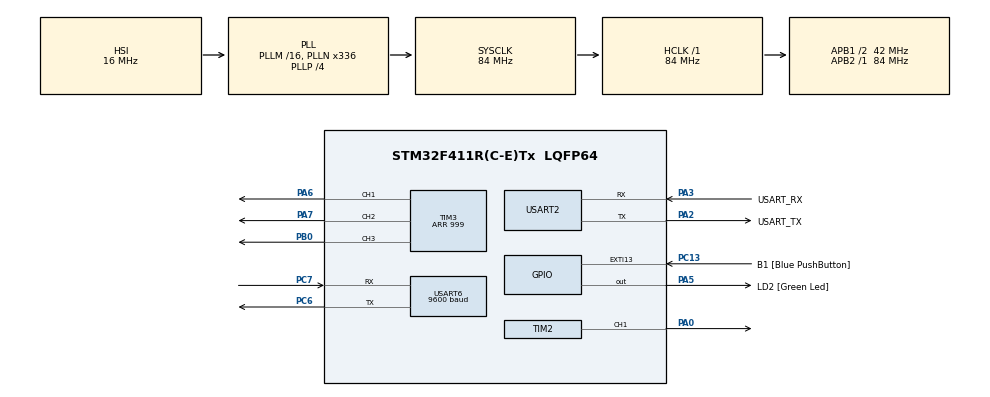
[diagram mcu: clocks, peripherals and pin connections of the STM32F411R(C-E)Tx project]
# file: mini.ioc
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Mcu.Family=STM32F4
Mcu.Name=STM32F411R(C-E)Tx
Mcu.Package=LQFP64
NVIC.PriorityGroup=NVIC_PRIORITYGROUP_0
NVIC.USART2_IRQn=true\:0\:0\:false\:false\:true\:true\:true\:true
NVIC.USART6_IRQn=true\:0\:0\:false\:false\:true\:true\:true\:true
PA0-WKUP.Signal=S_TIM2_CH1_ETR
PA13.GPIO_Label=TMS
PA13.Mode=Serial_Wire
PA13.Signal=SYS_JTMS-SWDIO
PA14.GPIO_Label=TCK
PA14.Mode=Serial_Wire
PA14.Signal=SYS_JTCK-SWCLK
PA2.GPIO_Label=USART_TX
PA2.Mode=Asynchronous
PA2.Signal=USART2_TX
PA3.GPIO_Label=USART_RX
PA3.Mode=Asynchronous
PA3.Signal=USART2_RX
PA5.GPIO_Label=LD2 [Green Led]
PA5.Signal=GPIO_Output
PA6.Signal=S_TIM3_CH1
PA7.Signal=S_TIM3_CH2
PB0.Signal=S_TIM3_CH3
PC13-ANTI_TAMP.GPIO_Label=B1 [Blue PushButton]
PC13-ANTI_TAMP.GPIO_ModeDefaultEXTI=GPIO_MODE_IT_FALLING
PC13-ANTI_TAMP.Signal=GPXTI13
PC14-OSC32_IN.Mode=LSE-External-Oscillator
PC14-OSC32_IN.Signal=RCC_OSC32_IN
PC15-OSC32_OUT.Mode=LSE-External-Oscillator
PC15-OSC32_OUT.Signal=RCC_OSC32_OUT
PC6.Mode=Asynchronous
PC6.Signal=USART6_TX
PC7.Mode=Asynchronous
PC7.Signal=USART6_RX
PH0\ -\ OSC_IN.Mode=HSE-External-Clock-Source
PH0\ -\ OSC_IN.Signal=RCC_OSC_IN
PH1\ -\ OSC_OUT.Mode=HSE-External-Clock-Source
PH1\ -\ OSC_OUT.Signal=RCC_OSC_OUT
ProjectManager.HeapSize=0x200
ProjectManager.StackSize=0x400
ProjectManager.TargetToolchain=STM32CubeIDE
RCC.48MHZClocksFreq_Value=84000000
RCC.AHBFreq_Value=84000000
RCC.APB1CLKDivider=RCC_HCLK_DIV2
RCC.APB1Freq_Value=42000000
RCC.APB1TimFreq_Value=84000000
RCC.APB2Freq_Value=84000000
RCC.APB2TimFreq_Value=84000000
RCC.CortexFreq_Value=84000000
RCC.FLatency-AdvancedSettings=FLASH_LATENCY_2
RCC.HCLKFreq_Value=84000000
RCC.HSE_VALUE=8000000
RCC.HSI_VALUE=16000000
RCC.PLLN=336
RCC.PLLP=RCC_PLLP_DIV4
RCC.SYSCLKFreq_VALUE=84000000
RCC.SYSCLKSource=RCC_SYSCLKSOURCE_PLLCLK
RCC.VCOOutputFreq_Value=336000000
SH.S_TIM2_CH1_ETR.0=TIM2_CH1,PWM Generation1 CH1
SH.S_TIM3_CH1.0=TIM3_CH1,PWM Generation1 CH1
SH.S_TIM3_CH2.0=TIM3_CH2,PWM Generation2 CH2
SH.S_TIM3_CH3.0=TIM3_CH3,PWM Generation3 CH3
TIM2.Channel-PWM\ Generation1\ CH1=TIM_CHANNEL_1
TIM2.Period=999
TIM2.Pulse-PWM\ Generation1\ CH1=499
TIM3.Channel-PWM\ Generation1\ CH1=TIM_CHANNEL_1
TIM3.Channel-PWM\ Generation2\ CH2=TIM_CHANNEL_2
TIM3.Channel-PWM\ Generation3\ CH3=TIM_CHANNEL_3
TIM3.Period=999
TIM3.Pulse-PWM\ Generation1\ CH1=499
TIM3.Pulse-PWM\ Generation2\ CH2=499
TIM3.Pulse-PWM\ Generation3\ CH3=499
USART2.VirtualMode=VM_ASYNC
USART6.BaudRate=9600
USART6.VirtualMode=VM_ASYNC
VP_TIM2_VS_ClockSourceINT.Mode=Internal
VP_TIM3_VS_ClockSourceINT.Mode=Internal
board=NUCLEO-F411RE

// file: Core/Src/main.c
/* USER CODE BEGIN Header */
/**
  ******************************************************************************
  * @file           : main.c
  * @brief          : Main program body
  ******************************************************************************
  * @attention
  *
  * Copyright (c) 2024 STMicroelectronics.
  * All rights reserved.
  *
  * This software is licensed under terms that can be found in the LICENSE file
  * in the root directory of this software component.
  * If no LICENSE file comes with this software, it is provided AS-IS.
  *
  ******************************************************************************
  */
/* USER CODE END Header */
#include "main.h"

/* USER CODE BEGIN Includes */
#include <stdio.h>
#include <string.h>
#define MOTOR_ON()  HAL_TIM_PWM_Start(&htim2, TIM_CHANNEL_1)
#define MOTOR_OFF() HAL_TIM_PWM_Stop(&htim2, TIM_CHANNEL_1)
/* USER CODE END Includes */

/* USER CODE BEGIN PD */
#ifdef __GNUC__
/* With GCC, small printf (option LD Linker->Libraries->Small printf
   set to 'Yes') calls __io_putchar() */
#define PUTCHAR_PROTOTYPE int __io_putchar(int ch)
#else
#define PUTCHAR_PROTOTYPE int fputc(int ch, FILE *f)
#endif /* __GNUC__ */
#define ARR_CNT 5
#define CMD_SIZE 50
/* USER CODE END PD */

/* USER CODE BEGIN PM */
int dust = 0;
int temp = 0;
int humi =0 ;
/* USER CODE END PM */

TIM_HandleTypeDef htim2;
TIM_HandleTypeDef htim3;

UART_HandleTypeDef huart2;
UART_HandleTypeDef huart6;

/* USER CODE BEGIN PV */
uint8_t rx2char;
volatile unsigned char rx2Flag = 0;
volatile char rx2Data[50];
volatile unsigned char btFlag = 0;
uint8_t btchar;
char btData[50];
/* USER CODE END PV */

void SystemClock_Config(void);
static void MX_GPIO_Init(void);
static void MX_USART2_UART_Init(void);
static void MX_USART6_UART_Init(void);
static void MX_TIM3_Init(void);
static void MX_TIM2_Init(void);
/* USER CODE BEGIN PFP */
void bluetooth_Event();

void SetRGBColor(uint8_t red, uint8_t green, uint8_t blue)
{
    __HAL_TIM_SET_COMPARE(&htim3, TIM_CHANNEL_1, red);
    __HAL_TIM_SET_COMPARE(&htim3, TIM_CHANNEL_2, green);
    __HAL_TIM_SET_COMPARE(&htim3, TIM_CHANNEL_3, blue);
}
/* USER CODE END PFP */

int main(void)
{

  /* MCU Configuration--------------------------------------------------------*/

  /* Reset of all peripherals, Initializes the Flash interface and the Systick. */
  HAL_Init();

  /* Configure the system clock */
  SystemClock_Config();

  /* Initialize all configured peripherals */
  MX_GPIO_Init();
  MX_USART2_UART_Init();
  MX_USART6_UART_Init();
  MX_TIM3_Init();
  MX_TIM2_Init();
  /* USER CODE BEGIN 2 */
  HAL_UART_Receive_IT(&huart2, &rx2char,1);
  HAL_UART_Receive_IT(&huart6, &btchar,1);
  printf("start main2()\r\n");
//  char buf[10] = "Hello\r";
  /* USER CODE END 2 */

  /* Infinite loop */
  /* USER CODE BEGIN WHILE */
  while (1)
  {
	  if(rx2Flag)
	  {
			printf("recv2 : %s\r\n",rx2Data);
			rx2Flag =0;
	//	    HAL_UART_Transmit(&huart6, (uint8_t *)buf, strlen(buf), 0xFFFF);
	  }
	  if(btFlag)
	  {
//		printf("bt : %s\r\n",btData);
			btFlag =0;
			bluetooth_Event();
	  }
//	  HAL_GPIO_TogglePin(GPIOC, GPIO_PIN_13);
//	  HAL_Delay(500);

    /* USER CODE END WHILE */

  }
}

void SystemClock_Config(void)
{
  RCC_OscInitTypeDef RCC_OscInitStruct = {0};
  RCC_ClkInitTypeDef RCC_ClkInitStruct = {0};

  /** Configure the main internal regulator output voltage
  */
  __HAL_RCC_PWR_CLK_ENABLE();
  __HAL_PWR_VOLTAGESCALING_CONFIG(PWR_REGULATOR_VOLTAGE_SCALE1);

  /** Initializes the RCC Oscillators according to the specified parameters
  * in the RCC_OscInitTypeDef structure.
  */
  RCC_OscInitStruct.OscillatorType = RCC_OSCILLATORTYPE_HSI;
  RCC_OscInitStruct.HSIState = RCC_HSI_ON;
  RCC_OscInitStruct.HSICalibrationValue = RCC_HSICALIBRATION_DEFAULT;
  RCC_OscInitStruct.PLL.PLLState = RCC_PLL_ON;
  RCC_OscInitStruct.PLL.PLLSource = RCC_PLLSOURCE_HSI;
  RCC_OscInitStruct.PLL.PLLM = 16;
  RCC_OscInitStruct.PLL.PLLN = 336;
  RCC_OscInitStruct.PLL.PLLP = RCC_PLLP_DIV4;
  RCC_OscInitStruct.PLL.PLLQ = 4;
  if (HAL_RCC_OscConfig(&RCC_OscInitStruct) != HAL_OK)
  {
    Error_Handler();
  }

  /** Initializes the CPU, AHB and APB buses clocks
  */
  RCC_ClkInitStruct.ClockType = RCC_CLOCKTYPE_HCLK|RCC_CLOCKTYPE_SYSCLK
                              |RCC_CLOCKTYPE_PCLK1|RCC_CLOCKTYPE_PCLK2;
  RCC_ClkInitStruct.SYSCLKSource = RCC_SYSCLKSOURCE_PLLCLK;
  RCC_ClkInitStruct.AHBCLKDivider = RCC_SYSCLK_DIV1;
  RCC_ClkInitStruct.APB1CLKDivider = RCC_HCLK_DIV2;
  RCC_ClkInitStruct.APB2CLKDivider = RCC_HCLK_DIV1;

  if (HAL_RCC_ClockConfig(&RCC_ClkInitStruct, FLASH_LATENCY_2) != HAL_OK)
  {
    Error_Handler();
  }
}

static void MX_TIM2_Init(void)
{

  TIM_ClockConfigTypeDef sClockSourceConfig = {0};
  TIM_MasterConfigTypeDef sMasterConfig = {0};
  TIM_OC_InitTypeDef sConfigOC = {0};

  htim2.Instance = TIM2;
  htim2.Init.Prescaler = 0;
  htim2.Init.CounterMode = TIM_COUNTERMODE_UP;
  htim2.Init.Period = 999;
  htim2.Init.ClockDivision = TIM_CLOCKDIVISION_DIV1;
  htim2.Init.AutoReloadPreload = TIM_AUTORELOAD_PRELOAD_DISABLE;
  if (HAL_TIM_Base_Init(&htim2) != HAL_OK)
  {
    Error_Handler();
  }
  sClockSourceConfig.ClockSource = TIM_CLOCKSOURCE_INTERNAL;
  if (HAL_TIM_ConfigClockSource(&htim2, &sClockSourceConfig) != HAL_OK)
  {
    Error_Handler();
  }
  if (HAL_TIM_PWM_Init(&htim2) != HAL_OK)
  {
    Error_Handler();
  }
  sMasterConfig.MasterOutputTrigger = TIM_TRGO_RESET;
  sMasterConfig.MasterSlaveMode = TIM_MASTERSLAVEMODE_DISABLE;
  if (HAL_TIMEx_MasterConfigSynchronization(&htim2, &sMasterConfig) != HAL_OK)
  {
    Error_Handler();
  }
  sConfigOC.OCMode = TIM_OCMODE_PWM1;
  sConfigOC.Pulse = 499;
  sConfigOC.OCPolarity = TIM_OCPOLARITY_HIGH;
  sConfigOC.OCFastMode = TIM_OCFAST_DISABLE;
  if (HAL_TIM_PWM_ConfigChannel(&htim2, &sConfigOC, TIM_CHANNEL_1) != HAL_OK)
  {
    Error_Handler();
  }
  HAL_TIM_MspPostInit(&htim2);

}

static void MX_TIM3_Init(void)
{

  TIM_ClockConfigTypeDef sClockSourceConfig = {0};
  TIM_MasterConfigTypeDef sMasterConfig = {0};
  TIM_OC_InitTypeDef sConfigOC = {0};

  htim3.Instance = TIM3;
  htim3.Init.Prescaler = 0;
  htim3.Init.CounterMode = TIM_COUNTERMODE_UP;
  htim3.Init.Period = 999;
  htim3.Init.ClockDivision = TIM_CLOCKDIVISION_DIV1;
  htim3.Init.AutoReloadPreload = TIM_AUTORELOAD_PRELOAD_DISABLE;
  if (HAL_TIM_Base_Init(&htim3) != HAL_OK)
  {
    Error_Handler();
  }
  sClockSourceConfig.ClockSource = TIM_CLOCKSOURCE_INTERNAL;
  if (HAL_TIM_ConfigClockSource(&htim3, &sClockSourceConfig) != HAL_OK)
  {
    Error_Handler();
  }
  if (HAL_TIM_PWM_Init(&htim3) != HAL_OK)
  {
    Error_Handler();
  }
  sMasterConfig.MasterOutputTrigger = TIM_TRGO_RESET;
  sMasterConfig.MasterSlaveMode = TIM_MASTERSLAVEMODE_DISABLE;
  if (HAL_TIMEx_MasterConfigSynchronization(&htim3, &sMasterConfig) != HAL_OK)
  {
    Error_Handler();
  }
  sConfigOC.OCMode = TIM_OCMODE_PWM1;
  sConfigOC.Pulse = 499;
  sConfigOC.OCPolarity = TIM_OCPOLARITY_HIGH;
  sConfigOC.OCFastMode = TIM_OCFAST_DISABLE;
  if (HAL_TIM_PWM_ConfigChannel(&htim3, &sConfigOC, TIM_CHANNEL_1) != HAL_OK)
  {
    Error_Handler();
  }
  if (HAL_TIM_PWM_ConfigChannel(&htim3, &sConfigOC, TIM_CHANNEL_2) != HAL_OK)
  {
    Error_Handler();
  }
  if (HAL_TIM_PWM_ConfigChannel(&htim3, &sConfigOC, TIM_CHANNEL_3) != HAL_OK)
  {
    Error_Handler();
  }
  HAL_TIM_MspPostInit(&htim3);

}

static void MX_USART2_UART_Init(void)
{

  huart2.Instance = USART2;
  huart2.Init.BaudRate = 115200;
  huart2.Init.WordLength = UART_WORDLENGTH_8B;
  huart2.Init.StopBits = UART_STOPBITS_1;
  huart2.Init.Parity = UART_PARITY_NONE;
  huart2.Init.Mode = UART_MODE_TX_RX;
  huart2.Init.HwFlowCtl = UART_HWCONTROL_NONE;
  huart2.Init.OverSampling = UART_OVERSAMPLING_16;
  if (HAL_UART_Init(&huart2) != HAL_OK)
  {
    Error_Handler();
  }

}

static void MX_USART6_UART_Init(void)
{

  huart6.Instance = USART6;
  huart6.Init.BaudRate = 9600;
  huart6.Init.WordLength = UART_WORDLENGTH_8B;
  huart6.Init.StopBits = UART_STOPBITS_1;
  huart6.Init.Parity = UART_PARITY_NONE;
  huart6.Init.Mode = UART_MODE_TX_RX;
  huart6.Init.HwFlowCtl = UART_HWCONTROL_NONE;
  huart6.Init.OverSampling = UART_OVERSAMPLING_16;
  if (HAL_UART_Init(&huart6) != HAL_OK)
  {
    Error_Handler();
  }

}

static void MX_GPIO_Init(void)
{
  GPIO_InitTypeDef GPIO_InitStruct = {0};

  /* GPIO Ports Clock Enable */
  __HAL_RCC_GPIOC_CLK_ENABLE();
  __HAL_RCC_GPIOH_CLK_ENABLE();
  __HAL_RCC_GPIOA_CLK_ENABLE();
  __HAL_RCC_GPIOB_CLK_ENABLE();

  /*Configure GPIO pin Output Level */
  HAL_GPIO_WritePin(LD2_GPIO_Port, LD2_Pin, GPIO_PIN_RESET);

  /*Configure GPIO pin : B1_Pin */
  GPIO_InitStruct.Pin = B1_Pin;
  GPIO_InitStruct.Mode = GPIO_MODE_IT_FALLING;
  GPIO_InitStruct.Pull = GPIO_NOPULL;
  HAL_GPIO_Init(B1_GPIO_Port, &GPIO_InitStruct);

  /*Configure GPIO pin : LD2_Pin */
  GPIO_InitStruct.Pin = LD2_Pin;
  GPIO_InitStruct.Mode = GPIO_MODE_OUTPUT_PP;
  GPIO_InitStruct.Pull = GPIO_NOPULL;
  GPIO_InitStruct.Speed = GPIO_SPEED_FREQ_LOW;
  HAL_GPIO_Init(LD2_GPIO_Port, &GPIO_InitStruct);

/* USER CODE BEGIN MX_GPIO_Init_2 */
  /*Configure GPIO pin : TIM3 PWM Output*/
/* USER CODE END MX_GPIO_Init_2 */
}

/* USER CODE BEGIN 4 */
void MX_GPIO_LED_ON(int pin)
{
	HAL_GPIO_WritePin(LD2_GPIO_Port, pin, GPIO_PIN_SET);
}
void MX_GPIO_LED_OFF(int pin)
{
	HAL_GPIO_WritePin(LD2_GPIO_Port, pin, GPIO_PIN_RESET);
}

void bluetooth_Event()
{

  int i=0;
  char * pToken;
  char * pArray[ARR_CNT]={0};
  char recvBuf[CMD_SIZE]={0};
  char sendBuf[CMD_SIZE]={0};
  strcpy(recvBuf,btData);

  printf("btData : %s\r\n",btData);

  pToken = strtok(recvBuf,"[@]");
  while(pToken != NULL)
  {
    pArray[i] =  pToken;
    if(++i >= ARR_CNT)
      break;
    pToken = strtok(NULL,"[@]");
  }
//  printf("pArray[0] : %s\r\n",pArray[0]);
//  printf("pArray[1] : %s\r\n",pArray[1]);
//  printf("pArray[2] : %s\r\n",pArray[2]);

  if(!strcmp(pArray[1],"LED"))
  {
		if(!strcmp(pArray[2],"ON"))
		{
			MX_GPIO_LED_ON(LD2_Pin);
		}
		else if(!strcmp(pArray[2],"OFF"))
		{
			MX_GPIO_LED_OFF(LD2_Pin);
		}
  }
  else if(!strcmp(pArray[1],"SENSOR"))
  {
	  dust = atoi(pArray[2]);
	  humi = atoi(pArray[3]);
	  temp = atoi(pArray[4]);

	  // 먼지 값에 따라 RGB LED 색상 설정
	  if (dust <= 25)
	  {
		  SetRGBColor(0, 0, 255); // 파란색
	  }
	  else if (dust <= 50)
	  {
	       SetRGBColor(0, 255, 0); // 초록색
	  }
	  else
	  {
	       SetRGBColor(255, 0, 0); // 빨간색
	  }

	  // 습도와 온도에 따라 DC 모터 제어
	  if (humi > 50 || temp > 20)
	  {
		  MOTOR_ON();
	   }
	   else
	   {
		   MOTOR_OFF();
	   }

      return;
  }
  else if(!strncmp(pArray[1]," Already log",sizeof(" Already log")))
  {
      return;
  }
  else
      return;

  sprintf(sendBuf,"[%s]%s@%s\n",pArray[0],pArray[1],pArray[2]);
  HAL_UART_Transmit(&huart6, (uint8_t *)sendBuf, strlen(sendBuf), 0xFFFF);

}

/**
  * @brief  Retargets the C library printf function to the USART.
  * @param  None
  * @retval None
  */
PUTCHAR_PROTOTYPE
{
  /* Place your implementation of fputc here */
  /* e.g. write a character to the USART6 and Loop until the end of transmission */
  HAL_UART_Transmit(&huart2, (uint8_t *)&ch, 1, 0xFFFF);

  return ch;
}
void HAL_UART_RxCpltCallback(UART_HandleTypeDef *huart)
{
    if(huart->Instance == USART2)
    {
    	static int i=0;
    	rx2Data[i] = rx2char;
    	if((rx2Data[i] == '\r')||(btData[i] == '\n'))
    	{
    		rx2Data[i] = '\0';
    		rx2Flag = 1;
    		i = 0;
    	}
    	else
    	{
    		i++;
    	}
    	HAL_UART_Receive_IT(&huart2, &rx2char,1);
    }
    if(huart->Instance == USART6)
    {
    	static int i=0;
    	btData[i] = btchar;
    	if((btData[i] == '\n') || btData[i] == '\r')
    	{
    		btData[i] = '\0';
    		btFlag = 1;
    		i = 0;
    	}
    	else
    	{
    		i++;
    	}
    	HAL_UART_Receive_IT(&huart6, &btchar,1);
    }
}
/* USER CODE END 4 */

void Error_Handler(void)
{
  __disable_irq();
  while (1)
  {
  }
}
